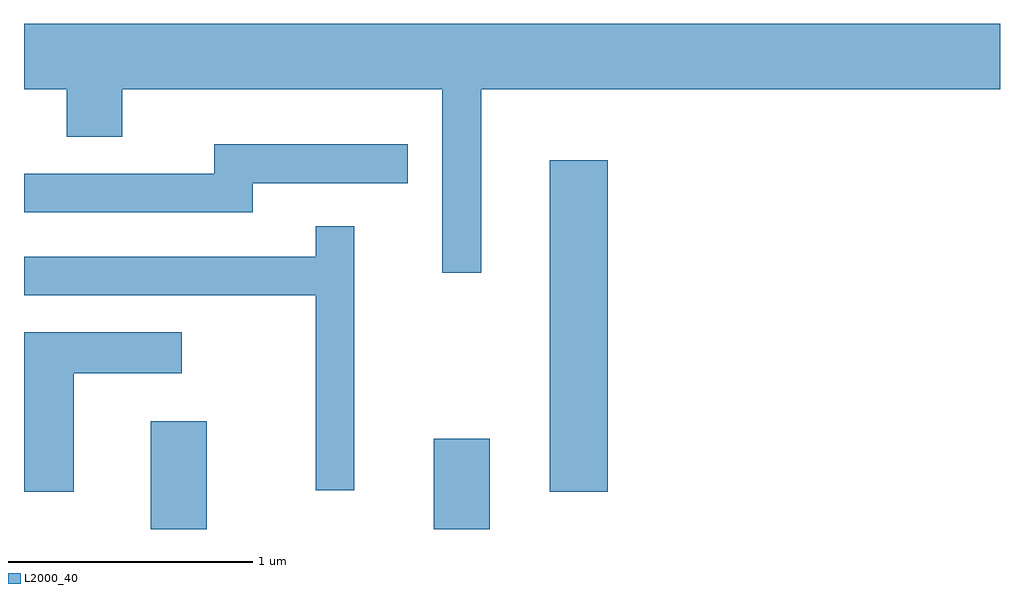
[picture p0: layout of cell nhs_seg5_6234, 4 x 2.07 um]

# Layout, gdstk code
import gdstk
lib = gdstk.Library(unit=1e-6, precision=1e-09)
def R(c, l, rs):  # rectangles x0, y0, x1, y1
    for r in rs: c.add(gdstk.rectangle(r[:2], r[2:], *l))
def P(c, l, *ps):  # polygons
    for p in ps: c.add(gdstk.Polygon(p, *l))
L2000_40 = (2000, 40)

nhs_seg5_6234 = lib.new_cell('nhs_seg5_6234')
R(nhs_seg5_6234, L2000_40, [(370.131,1486.072,370.359,1486.514), (371.291,1486.072,371.519,1486.444), (371.766,1486.226,372.004,1487.584)])
P(nhs_seg5_6234, L2000_40, [(371.484,1487.876),(373.611,1487.876),(373.611,1488.144),(369.611,1488.144),(369.611,1487.876),(369.786,1487.876),(369.786,1487.681),(370.014,1487.681),(370.014,1487.876),(371.326,1487.876),(371.326,1487.123),(371.484,1487.123)],
  [(370.549,1487.491),(371.183,1487.491),(371.183,1487.649),(370.391,1487.649),(370.391,1487.529),(369.611,1487.529),(369.611,1487.371),(370.549,1487.371)],
  [(370.964,1487.313),(370.806,1487.313),(370.806,1487.189),(369.611,1487.189),(369.611,1487.031),(370.806,1487.031),(370.806,1486.233),(370.964,1486.233)],
  [(369.814,1486.711),(370.258,1486.711),(370.258,1486.879),(369.611,1486.879),(369.611,1486.226),(369.814,1486.226)])

lib.write_gds('nhs_seg5_6234.gds')
